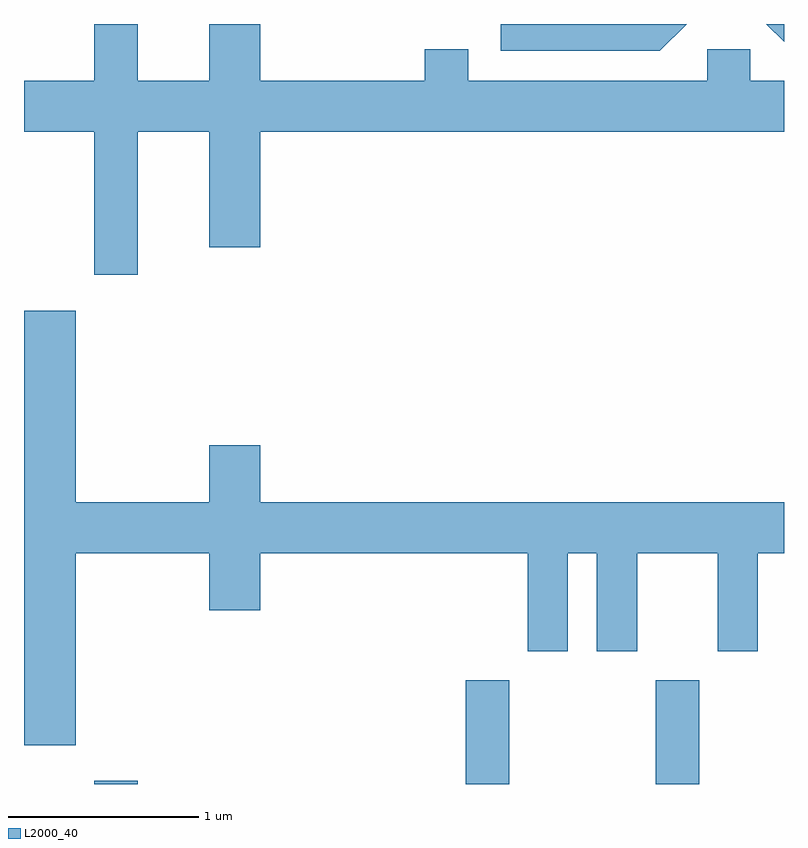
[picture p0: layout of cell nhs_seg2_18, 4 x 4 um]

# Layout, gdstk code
import gdstk
lib = gdstk.Library(unit=1e-6, precision=1e-09)
def R(c, l, rs):  # rectangles x0, y0, x1, y1
    for r in rs: c.add(gdstk.rectangle(r[:2], r[2:], *l))
def P(c, l, *ps):  # polygons
    for p in ps: c.add(gdstk.Polygon(p, *l))
L2000_40 = (2000, 40)

nhs_seg2_18 = lib.new_cell('nhs_seg2_18')
R(nhs_seg2_18, L2000_40, [(185.981,1013.802,186.209,1013.819), (187.936,1013.802,188.164,1014.349), (188.936,1013.802,189.164,1014.349)])
P(nhs_seg2_18, L2000_40, [(186.209,1017.236),(186.586,1017.236),(186.586,1016.626),(186.854,1016.626),(186.854,1017.236),(189.611,1017.236),(189.611,1017.504),(189.434,1017.504),(189.434,1017.669),(189.206,1017.669),(189.206,1017.504),(187.949,1017.504),(187.949,1017.669),(187.721,1017.669),(187.721,1017.504),(186.854,1017.504),(186.854,1017.802),(186.586,1017.802),(186.586,1017.504),(186.209,1017.504),(186.209,1017.802),(185.981,1017.802),(185.981,1017.504),(185.611,1017.504),(185.611,1017.236),(185.981,1017.236),(185.981,1016.481),(186.209,1016.481)],
  [(189.098,1017.802),(188.121,1017.802),(188.121,1017.661),(188.957,1017.661)],
  [(189.611,1017.802),(189.518,1017.802),(189.611,1017.709)],
  [(185.884,1015.016),(186.586,1015.016),(186.586,1014.716),(186.854,1014.716),(186.854,1015.016),(188.261,1015.016),(188.261,1014.501),(188.474,1014.501),(188.474,1015.016),(188.626,1015.016),(188.626,1014.501),(188.839,1014.501),(188.839,1015.016),(189.261,1015.016),(189.261,1014.501),(189.474,1014.501),(189.474,1015.016),(189.611,1015.016),(189.611,1015.284),(186.854,1015.284),(186.854,1015.584),(186.586,1015.584),(186.586,1015.284),(185.884,1015.284),(185.884,1016.294),(185.611,1016.294),(185.611,1014.006),(185.884,1014.006)])

lib.write_gds('nhs_seg2_18.gds')
